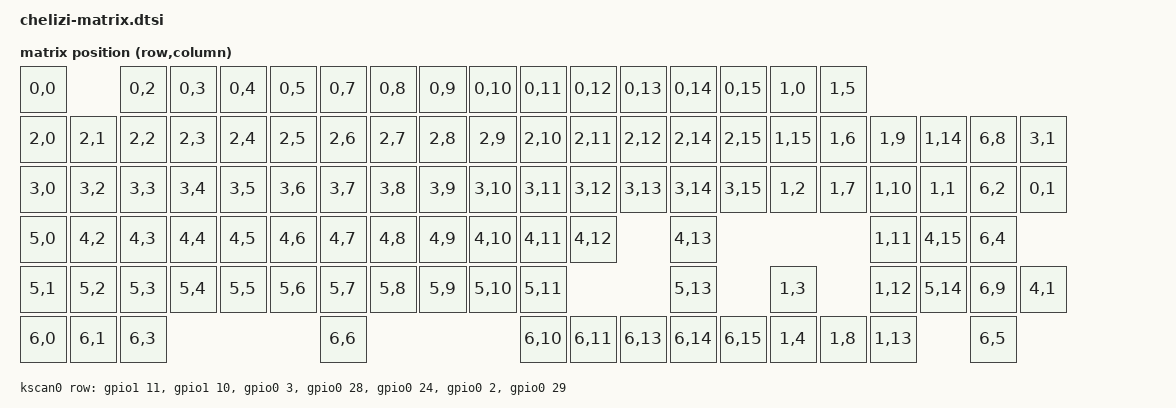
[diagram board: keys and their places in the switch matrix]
/*
 * Copyright (c) 2020 The ZMK Contributors
 *
 * SPDX-License-Identifier: MIT
 */

#include <dt-bindings/zmk/matrix_transform.h>

/ {
    chosen {
        zmk,kscan = &kscan0;
        zmk,matrix-transform = &default_transform;
    };

     default_transform: matrix_transform {
        compatible = "zmk,matrix-transform";
        columns = <16>;
        rows = <7>;
        map = <
RC(0, 0)          RC(0, 2) RC(0, 3) RC(0, 4) RC(0, 5) RC(0, 7) RC(0, 8) RC(0, 9) RC(0, 10) RC(0, 11) RC(0, 12) RC(0, 13) RC(0, 14) RC(0, 15) RC(1, 0)  RC(1, 5)
RC(2, 0) RC(2, 1) RC(2, 2) RC(2, 3) RC(2, 4) RC(2, 5) RC(2, 6) RC(2, 7) RC(2, 8) RC(2, 9)  RC(2, 10) RC(2, 11) RC(2, 12) RC(2, 14) RC(2, 15) RC(1, 15) RC(1, 6) RC(1, 9)  RC(1, 14) RC(6, 8) RC(3, 1)
RC(3, 0) RC(3, 2) RC(3, 3) RC(3, 4) RC(3, 5) RC(3, 6) RC(3, 7) RC(3, 8) RC(3, 9) RC(3, 10) RC(3, 11) RC(3, 12) RC(3, 13) RC(3, 14) RC(3, 15) RC(1, 2)  RC(1, 7) RC(1, 10) RC(1, 1)  RC(6, 2) RC(0, 1)
RC(5, 0) RC(4, 2) RC(4, 3) RC(4, 4) RC(4, 5) RC(4, 6) RC(4, 7) RC(4, 8) RC(4, 9) RC(4, 10) RC(4, 11) RC(4, 12)           RC(4, 13)                              RC(1, 11) RC(4, 15) RC(6, 4)
RC(5, 1) RC(5, 2) RC(5, 3) RC(5, 4) RC(5, 5) RC(5, 6) RC(5, 7) RC(5, 8) RC(5, 9) RC(5, 10) RC(5, 11)                     RC(5, 13)           RC(1, 3)           RC(1, 12) RC(5, 14) RC(6, 9) RC(4, 1)
RC(6, 0) RC(6, 1) RC(6, 3)                            RC(6, 6)                             RC(6, 10) RC(6, 11) RC(6, 13) RC(6, 14) RC(6, 15) RC(1, 4)  RC(1, 8) RC(1, 13)           RC(6, 5)

        >;
    };

    kscan0: kscan {
        compatible = "zmk,kscan-gpio-matrix";
        wakeup-source;
        debounce-press-ms = <0>;
        debounce-release-ms = <2>;

        diode-direction = "col2row";
        row-gpios
            = <&gpio1 11  (GPIO_ACTIVE_LOW | GPIO_PULL_UP)>
            , <&gpio1 10  (GPIO_ACTIVE_LOW | GPIO_PULL_UP)>
            , <&gpio0 3   (GPIO_ACTIVE_LOW | GPIO_PULL_UP)>
            , <&gpio0 28  (GPIO_ACTIVE_LOW | GPIO_PULL_UP)>
            , <&gpio0 24  (GPIO_ACTIVE_LOW | GPIO_PULL_UP)>
            , <&gpio0 2   (GPIO_ACTIVE_LOW | GPIO_PULL_UP)>
            , <&gpio0 29  (GPIO_ACTIVE_LOW | GPIO_PULL_UP)>
            ;
    };

    // TODO: per-key RGB node(s)?
};
